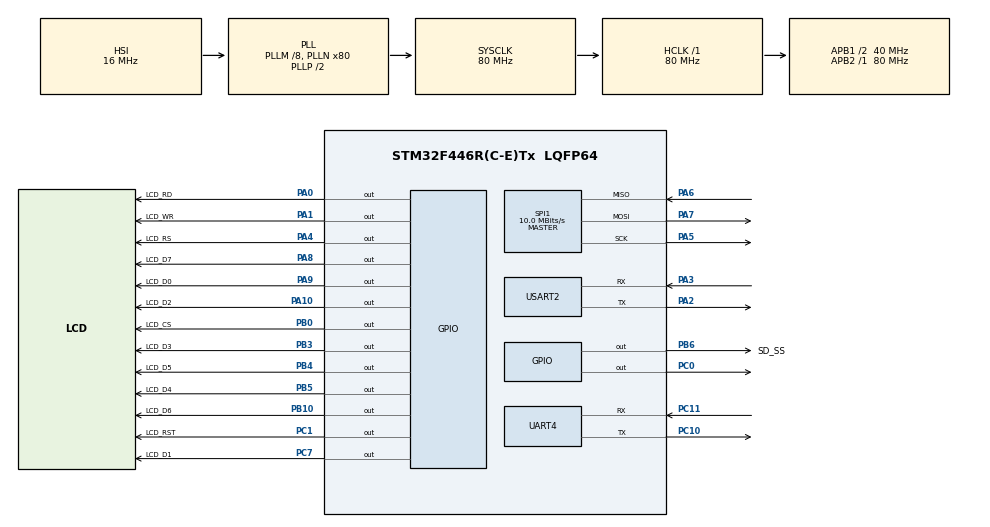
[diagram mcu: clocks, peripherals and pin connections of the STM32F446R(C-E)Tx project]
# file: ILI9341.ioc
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FATFS._MAX_SS=4096
FATFS._USE_LFN=1
Mcu.Family=STM32F4
Mcu.Name=STM32F446R(C-E)Tx
Mcu.Package=LQFP64
NVIC.PriorityGroup=NVIC_PRIORITYGROUP_4
NVIC.TIM6_DAC_IRQn=true\:0\:0\:false\:false\:true\:true\:true\:true
NVIC.UART4_IRQn=true\:0\:0\:false\:false\:true\:true\:true\:true
NVIC.USART2_IRQn=true\:0\:0\:false\:false\:true\:true\:true\:true
PA0-WKUP.GPIO_Label=LCD_RD
PA0-WKUP.GPIO_Speed=GPIO_SPEED_FREQ_HIGH
PA0-WKUP.Signal=GPIO_Output
PA1.GPIO_Label=LCD_WR
PA1.GPIO_Speed=GPIO_SPEED_FREQ_HIGH
PA1.Signal=GPIO_Output
PA10.GPIO_Label=LCD_D2
PA10.GPIO_Speed=GPIO_SPEED_FREQ_HIGH
PA10.Signal=GPIO_Output
PA13.Mode=Serial_Wire
PA13.Signal=SYS_JTMS-SWDIO
PA14.Mode=Serial_Wire
PA14.Signal=SYS_JTCK-SWCLK
PA2.Mode=Asynchronous
PA2.Signal=USART2_TX
PA3.Mode=Asynchronous
PA3.Signal=USART2_RX
PA4.GPIO_Label=LCD_RS
PA4.GPIO_Speed=GPIO_SPEED_FREQ_HIGH
PA4.Signal=GPIO_Output
PA5.Mode=Full_Duplex_Master
PA5.Signal=SPI1_SCK
PA6.Mode=Full_Duplex_Master
PA6.Signal=SPI1_MISO
PA7.Mode=Full_Duplex_Master
PA7.Signal=SPI1_MOSI
PA8.GPIO_Label=LCD_D7
PA8.GPIO_Speed=GPIO_SPEED_FREQ_HIGH
PA8.Signal=GPIO_Output
PA9.GPIO_Label=LCD_D0
PA9.GPIO_Speed=GPIO_SPEED_FREQ_HIGH
PA9.Signal=GPIO_Output
PB0.GPIO_Label=LCD_CS
PB0.GPIO_Speed=GPIO_SPEED_FREQ_HIGH
PB0.Signal=GPIO_Output
PB10.GPIO_Label=LCD_D6
PB10.GPIO_Speed=GPIO_SPEED_FREQ_HIGH
PB10.Signal=GPIO_Output
PB3.GPIO_Label=LCD_D3
PB3.GPIO_Speed=GPIO_SPEED_FREQ_HIGH
PB3.Signal=GPIO_Output
PB4.GPIO_Label=LCD_D5
PB4.GPIO_Speed=GPIO_SPEED_FREQ_HIGH
PB4.Signal=GPIO_Output
PB5.GPIO_Label=LCD_D4
PB5.GPIO_Speed=GPIO_SPEED_FREQ_HIGH
PB5.Signal=GPIO_Output
PB6.GPIO_Label=SD_SS
PB6.GPIO_Speed=GPIO_SPEED_FREQ_MEDIUM
PB6.PinState=GPIO_PIN_SET
PB6.Signal=GPIO_Output
PC0.PinState=GPIO_PIN_SET
PC0.Signal=GPIO_Output
PC1.GPIO_Label=LCD_RST
PC1.GPIO_Speed=GPIO_SPEED_FREQ_HIGH
PC1.Signal=GPIO_Output
PC10.Mode=Asynchronous
PC10.Signal=UART4_TX
PC11.Mode=Asynchronous
PC11.Signal=UART4_RX
PC7.GPIO_Label=LCD_D1
PC7.GPIO_Speed=GPIO_SPEED_FREQ_HIGH
PC7.Signal=GPIO_Output
PH0-OSC_IN.Mode=HSE-External-Oscillator
PH0-OSC_IN.Signal=RCC_OSC_IN
PH1-OSC_OUT.Mode=HSE-External-Oscillator
PH1-OSC_OUT.Signal=RCC_OSC_OUT
ProjectManager.HeapSize=0x200
ProjectManager.StackSize=0x400
ProjectManager.TargetToolchain=STM32CubeIDE
RCC.AHBFreq_Value=80000000
RCC.APB1CLKDivider=RCC_HCLK_DIV2
RCC.APB1Freq_Value=40000000
RCC.APB1TimFreq_Value=80000000
RCC.APB2Freq_Value=80000000
RCC.APB2TimFreq_Value=80000000
RCC.CortexFreq_Value=80000000
RCC.HCLKFreq_Value=80000000
RCC.PLLM=8
RCC.PLLN=80
RCC.SYSCLKFreq_VALUE=80000000
RCC.SYSCLKSource=RCC_SYSCLKSOURCE_PLLCLK
RCC.USBFreq_Value=80000000
RCC.VCOOutputFreq_Value=160000000
SPI1.BaudRatePrescaler=SPI_BAUDRATEPRESCALER_8
SPI1.CalculateBaudRate=10.0 MBits/s
SPI1.Direction=SPI_DIRECTION_2LINES
SPI1.Mode=SPI_MODE_MASTER
SPI1.VirtualType=VM_MASTER
TIM6.Period=2500-1
TIM6.Prescaler=8400-1
UART4.VirtualMode=Asynchronous
USART2.VirtualMode=VM_ASYNC
VP_FATFS_VS_Generic.Mode=User_defined
VP_TIM6_VS_ClockSourceINT.Mode=Enable_Timer
board=custom

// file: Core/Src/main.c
/* USER CODE BEGIN Header */
/**
 ******************************************************************************
 * @file           : main.c
 * @brief          : PANTALLA - LOGICA - COLISIONES
 ******************************************************************************
 *
 * ESTADOS:
 * START
 * PLAYING -
 * CORRECCIÓN DE VIDAS
 * CORRECCIÓN DE ANIMACIÓN
 * CORRECCIÓN MAPA
 * MOVIMIENTO LISTO
 * GAME_OVER
 * RESET
 */
/* USER CODE END Header */

#include "main.h"
#include "fatfs.h"

/* USER CODE BEGIN Includes */
#include "string.h"
#include "stdio.h"
#include "ili9341.h"
#include "Bitmaps.h"
#include "fatfs_sd.h"
#include "fisicas.h"
/* USER CODE END Includes */

/* USER CODE BEGIN PD */
#define BUFFER_PIXELS 320

FATFS fs;
FATFS *pfs;
FIL fil;
FRESULT fres;
UINT br;
DWORD fre_clust;
uint32_t totalSpace, freeSpace;

#define VIDA_W   7
#define VIDA_H   8
#define VIDA_GAP 2

/* Posiciones de DK y Peach */
#define DK_X     2
#define DK_Y     16
#define DK_W     34
#define DK_H     48
#define PEACH_X  111
#define PEACH_Y  8
#define PEACH_W  18
#define PEACH_H  24
/* USER CODE END PD */

SPI_HandleTypeDef hspi1;
TIM_HandleTypeDef htim6;
UART_HandleTypeDef huart4;
UART_HandleTypeDef huart2;

/* USER CODE BEGIN PV */
uint8_t rxData;
char msg[50];

#define ESP32_J1_ADDR (0x10 << 1)
#define ESP32_J2_ADDR (0x11 << 1)

int16_t prevX[NUM_JUGADORES];
int16_t prevY[NUM_JUGADORES];
int16_t prevEnemyX[MAX_ENEMIGOS];
int16_t prevEnemyY[MAX_ENEMIGOS];
uint8_t prevVidas[NUM_JUGADORES];

uint8_t pantalla_actualizada = 0;
volatile uint8_t flag_animacion = 0;
uint8_t frame_inicial = 0;
uint8_t mario_listo = 0;
uint8_t luigi_listo = 0;
volatile uint8_t contador_frames = 0;
uint8_t buffer_uart4;
volatile uint8_t bandera_play = 0;
volatile uint8_t bandera_skip = 0;
volatile uint8_t estado_J1 = 'N';
volatile uint8_t estado_J2 = 'n';

uint8_t frame_princesa = 0;
/* USER CODE END PV */

void SystemClock_Config(void);
static void MX_GPIO_Init(void);
static void MX_SPI1_Init(void);
static void MX_USART2_UART_Init(void);
static void MX_TIM6_Init(void);
static void MX_UART4_Init(void);
/* USER CODE BEGIN PFP */
void dibujarMapa(void);
void borrarSprite(int16_t x, int16_t y, uint8_t w, uint8_t h);
void repararTiles(int16_t x, int16_t y, uint8_t w, uint8_t h);
void dibujarHUD(void);
void actualizarHUD(void);
void gameLoop(void);
void iniciarJuego(void);
void dibujarDK(void);
void dibujarPeach(void);
static uint8_t revisar_boton_play(void);
uint8_t drawImageSD_Chunked_Skip(char *filename, uint16_t x, uint16_t y, uint16_t width, uint16_t height, uint8_t total_frames);
/* USER CODE END PFP */

/* USER CODE BEGIN 0 */
/* ---------- SD ---------- */
void transmit_uart(char *string) {
    uint8_t len = strlen(string);
    HAL_UART_Transmit(&huart2, (uint8_t*) string, len, 200);
}

void mount_SD() {
    fres = f_mount(&fs, "/", 1);
    if (fres == FR_OK) transmit_uart("SD montada OK.\r\n");
    else { char buf[60]; sprintf(buf, "Error SD: %d\r\n", fres); transmit_uart(buf); }
}
void open_ReadFile(char *filename) { fres = f_open(&fil, filename, FA_READ); }
void close_File(char *filename)   { fres = f_close(&fil); }
void unmount_SD()                 {
	f_mount(NULL, "", 1);
	if (fres == FR_OK)	 transmit_uart("Micro SD card is unmounted!\r\n");
	else if (fres != FR_OK) 	transmit_uart("Micro SD card was not unmounted!\r\n");
}

/* ---------- FONDOS Y ANIMACIONES ---------- */
void drawImageSD_Chunked(char *filename, uint16_t x, uint16_t y,
		uint16_t width, uint16_t height, uint8_t total_frames) {
	HAL_TIM_Base_Stop_IT(&htim6);
	uint16_t chunk = 10;
	uint16_t buffer[BUFFER_PIXELS*chunk];

	mount_SD();
	open_ReadFile(filename);
	for (uint8_t frame = 0; frame < total_frames; frame++) {
		for (uint16_t row = 0; row < height; row += chunk) {
			uint16_t rows = (row + chunk > height) ? (height - row) : chunk;
			f_read(&fil, buffer, width * rows * sizeof(uint16_t), &br);
			if (br != width * rows * sizeof(uint16_t)) break;
			LCD_Bitmap(x, y + row, width, rows, buffer);
		}
	}
	close_File(filename);
	unmount_SD();
	HAL_TIM_Base_Start_IT(&htim6);
}

/* NUEVA FUNCION: Animacion que se interrumpe si la bandera_skip es 1 */
uint8_t drawImageSD_Chunked_Skip(char *filename, uint16_t x, uint16_t y,
		uint16_t width, uint16_t height, uint8_t total_frames) {
	HAL_TIM_Base_Stop_IT(&htim6);
	uint16_t chunk = 10;
	uint16_t buffer[BUFFER_PIXELS*chunk];

	mount_SD();
	open_ReadFile(filename);
	for (uint8_t frame = 0; frame < total_frames; frame++) {

        // REVISAMOS SI EL USUARIO PRESIONO 'T'
        if (bandera_skip == 1) {
            close_File(filename);
	        unmount_SD();
	        HAL_TIM_Base_Start_IT(&htim6);
            return 1; // Retorna 1 indicando que fue interrumpido
        }

		for (uint16_t row = 0; row < height; row += chunk) {
			uint16_t rows = (row + chunk > height) ? (height - row) : chunk;
			f_read(&fil, buffer, width * rows * sizeof(uint16_t), &br);
			if (br != width * rows * sizeof(uint16_t)) break;
			LCD_Bitmap(x, y + row, width, rows, buffer);
		}
	}
	close_File(filename);
	unmount_SD();
	HAL_TIM_Base_Start_IT(&htim6);
    return 0; // Termino normalmente
}

void HAL_TIM_PeriodElapsedCallback(TIM_HandleTypeDef *htim) {
    if (htim->Instance == TIM6) {
    	flag_animacion = 1;
    	contador_frames++;
    }
}

void makeScore(void) {
	drawImageSD_Chunked("score.bin", 0, 0, 240, 320, 1);
}

/* ---------- HUD ---------- */
void dibujarHUD(void) {
    for (uint8_t i = 0; i < jugadores[J_MARIO].vidas; i++) {
        uint16_t hx = 2 + i * (VIDA_W + VIDA_GAP);
        LCD_BitmapTransparent(hx, 2, VIDA_W, VIDA_H, (const uint16_t*)v_m, 0x0000);
    }
    for (uint8_t i = jugadores[J_MARIO].vidas; i < NUM_VIDAS; i++) {
        uint16_t hx = 2 + i * (VIDA_W + VIDA_GAP);
        FillRect(hx, 2, VIDA_W, VIDA_H, 0x0000);
    }
    for (uint8_t i = 0; i < jugadores[J_LUIGI].vidas; i++) {
        uint16_t hx = SCREEN_W - 2 - (NUM_VIDAS - i) * (VIDA_W + VIDA_GAP);
        LCD_BitmapTransparent(hx, 2, VIDA_W, VIDA_H, (const uint16_t*)v_l, 0x0000);
    }
    for (uint8_t i = jugadores[J_LUIGI].vidas; i < NUM_VIDAS; i++) {
        uint16_t hx = SCREEN_W - 2 - (NUM_VIDAS - i) * (VIDA_W + VIDA_GAP);
        FillRect(hx, 2, VIDA_W, VIDA_H, 0x0000);
    }
    prevVidas[J_MARIO] = jugadores[J_MARIO].vidas;
    prevVidas[J_LUIGI] = jugadores[J_LUIGI].vidas;
}

void actualizarHUD(void) {
    if (prevVidas[J_MARIO] != jugadores[J_MARIO].vidas ||
        prevVidas[J_LUIGI] != jugadores[J_LUIGI].vidas)
        dibujarHUD();
}

/* ---------- MAPA ---------- */
void dibujarMapa(void) {
    LCD_Clear(0x0000);
    for (uint8_t row = 0; row < MAP_ROWS; row++) {
        for (uint8_t col = 0; col < MAP_COLS; col++) {
            uint16_t px = col * TILE_W;
            uint16_t py = row * TILE_H;
            int16_t offset = calc_slope(row, col);
            uint8_t blk = tilemap[row][col];
            if (blk == 1)
                LCD_BitmapTransparent(px, py+offset, 16, 8, (const uint16_t*)tile2, 0x0000);
            else if (blk == 2)
                LCD_BitmapTransparent(px, py+offset, 8, 16, (const uint16_t*)escalera, 0x0000);
            else if (blk == 3) {
                LCD_BitmapTransparent(px, py+offset, 16, 8, (const uint16_t*)tile2, 0x0000);
                LCD_BitmapTransparent(px, py+offset, 8, 16, (const uint16_t*)escalera, 0x0000);
            }
        }
    }
}

/* ---------- GRAFICOS ---------- */
void borrarSprite(int16_t x, int16_t y, uint8_t w, uint8_t h) {
    if (x < 0 || y < 0) return;
    uint8_t dw = (x + w > SCREEN_W) ? SCREEN_W - x : w;
    uint8_t dh = (y + h > SCREEN_H) ? SCREEN_H - y : h;
    FillRect(x, y, dw, dh, 0x0000);
}

void repararTiles(int16_t x, int16_t y, uint8_t w, uint8_t h) {
    int cMin = (x / TILE_W) - 1;
    int cMax = (x + w - 1) / TILE_W + 1;
    int rMin = (y / TILE_H) - 1;
    int rMax = (y + h - 1) / TILE_H + 1;
    for (int r = rMin; r <= rMax; r++) {
        for (int c = cMin; c <= cMax; c++) {
            if (r < 0 || r >= MAP_ROWS || c < 0 || c >= MAP_COLS) continue;
            uint16_t tpx = c * TILE_W;
            uint16_t tpy = r * TILE_H;
            int16_t offset = calc_slope(r, c);
            uint8_t blk = tilemap[r][c];
            if (blk == 1)
                LCD_Bitmap(tpx, tpy+offset, 16, 8, (const uint16_t*)tile2);
            else if (blk == 2)
                LCD_Bitmap(tpx, tpy+offset, 8, 16, (const uint16_t*)escalera);
            else if (blk == 3) {
                LCD_Bitmap(tpx, tpy+offset, 16, 8, (const uint16_t*)tile2);
                LCD_Bitmap(tpx, tpy+offset, 8, 16, (const uint16_t*)escalera);
            }
        }
    }
}

static uint8_t spritesOverlap(int16_t x1, int16_t y1,
                               int16_t x2, int16_t y2,
                               uint8_t w, uint8_t h)
{
    if (x1 < 0 || x2 < 0) return 0;
    if (x1+w <= x2 || x2+w <= x1) return 0;
    if (y1+h <= y2 || y2+h <= y1) return 0;
    return 1;
}

void dibujarDK(void) {
    int16_t dy = 0;
    uint8_t frame_actual_dk = 0;

    if (dk_anim > 0) {
        if (dk_anim > DK_THROW_FRAMES / 2) {
            dy = -4;
            frame_actual_dk = 2;
        } else {
            frame_actual_dk = 1;
        }
    } else {
        frame_actual_dk = 0;
    }

    LCD_Sprite_Transparent(DK_X, DK_Y + dy, DK_W, DK_H, (const uint16_t*)DK_2, 3, frame_actual_dk, 0, 0, 0x0000);
}

/* ========== Peach: SIN ANIMACIÓN (Fija) ========== */
void dibujarPeach(void) {
    LCD_Sprite_Transparent(PEACH_X, PEACH_Y, PEACH_W, PEACH_H,
                           (const uint16_t*)peach, 4, 0,
                           0, 0, 0x0000);
}

/* ========== Jugador: escalera, muerte, normal ========== */
static void dibujarJugador(uint8_t p) {
    Jugador_t *j = &jugadores[p];
    int16_t jx = Jugador_PixelX(p);
    int16_t jy = Jugador_PixelY(p);

    /* Muerto permanentemente: último frame de muerte */
    if (!j->vivo) {
        const uint16_t *deathSprite = (p == J_MARIO)
            ? (const uint16_t*)mario_death : (const uint16_t*)luigi_death;
        LCD_Sprite_Transparent(jx, jy, SPRITE_W, SPRITE_H,
                               deathSprite, 5, 4,
                               (j->direccion < 0) ? 1 : 0, 0, 0x0000);
        return;
    }

    /* Animación de muerte en curso */
    if (j->muriendo > 0) {
        const uint16_t *deathSprite = (p == J_MARIO)
            ? (const uint16_t*)mario_death : (const uint16_t*)luigi_death;
        LCD_Sprite_Transparent(jx, jy, SPRITE_W, SPRITE_H,
                               deathSprite, 5, j->frameAnimMuerte,
                               (j->direccion < 0) ? 1 : 0, 0, 0x0000);
        return;
    }

    /* Parpadeo de invencibilidad */
    if (j->invencible > 0 && (j->invencible % 8) < 4) return;

    /* En escalera: sprite de escalera (7 frames) */
    if (j->enEscalera) {
        const uint16_t *stairSprite = (p == J_MARIO)
            ? (const uint16_t*)mario_stairs : (const uint16_t*)luigi_stairs;
        LCD_Sprite_Transparent(jx, jy, SPRITE_W, SPRITE_H,
                               stairSprite, 7, j->frameAnim,
                               0, 0, 0x0000);
        return;
    }

    /* Normal: caminar/parado (5 frames) */
    const uint16_t *sprite = (p == J_MARIO)
        ? (const uint16_t*)mario : (const uint16_t*)luigi;

    LCD_Sprite_Transparent(jx, jy, SPRITE_W, SPRITE_H,
                           sprite, 5, j->frameAnim,
                           (j->direccion < 0) ? 1 : 0,
                           0, 0x0000);
}

/* ---------- INICIAR JUEGO ---------- */
void iniciarJuego(void) {
    LCD_Clear(0x0000);
    dibujarMapa();
    Fisicas_Init();
    for (int i = 0; i < NUM_JUGADORES; i++) { prevX[i] = -1; prevY[i] = -1; }
    for (int i = 0; i < MAX_ENEMIGOS; i++)  { prevEnemyX[i] = -1; prevEnemyY[i] = -1; }
    prevVidas[J_MARIO] = 0;
    prevVidas[J_LUIGI] = 0;

    dibujarDK();
    dibujarPeach();
    dibujarHUD();
    estadoJuego = ESTADO_PLAYING;
}

/* ---------- GAME LOOP ---------- */
void gameLoop(void) {
    Fisicas_Update();
    actualizarHUD();

    // === JUGADORES ===
    int16_t nx[NUM_JUGADORES], ny[NUM_JUGADORES];
    uint8_t moved[NUM_JUGADORES];
    for (uint8_t p = 0; p < NUM_JUGADORES; p++) {
        nx[p] = Jugador_PixelX(p);
        ny[p] = Jugador_PixelY(p);
        moved[p] = (prevX[p] != nx[p] || prevY[p] != ny[p]) ? 1 : 0;
        if (jugadores[p].invencible > 0) moved[p] = 1;
        if (jugadores[p].muriendo > 0) moved[p] = 1;
    }
    for (uint8_t p = 0; p < NUM_JUGADORES; p++) {
        if (!moved[p]) continue;
        if (prevX[p] >= 0) {
            borrarSprite(prevX[p], prevY[p], SPRITE_W, SPRITE_H);
            repararTiles(prevX[p], prevY[p], SPRITE_W, SPRITE_H);
            for (uint8_t q = 0; q < NUM_JUGADORES; q++) {
                if (q == p) continue;
                int16_t qx = (moved[q] && prevX[q] >= 0) ? nx[q] : prevX[q];
                int16_t qy = (moved[q] && prevY[q] >= 0) ? ny[q] : prevY[q];
                if (spritesOverlap(prevX[p], prevY[p], qx, qy, SPRITE_W, SPRITE_H))
                    dibujarJugador(q);
            }
        }
        dibujarJugador(p);
        prevX[p] = nx[p];
        prevY[p] = ny[p];
    }

    // === BARRILES ===
    for (uint8_t i = 0; i < MAX_ENEMIGOS; i++) {
        int16_t ex = FP_TO_PX(enemigos[i].x);
        int16_t ey = FP_TO_PX(enemigos[i].y);
        if (!enemigos[i].activo) {
            if (prevEnemyX[i] >= 0) {
                borrarSprite(prevEnemyX[i], prevEnemyY[i], BARRIL_W, BARRIL_H);
                repararTiles(prevEnemyX[i], prevEnemyY[i], BARRIL_W, BARRIL_H);
                prevEnemyX[i] = -1;
                prevEnemyY[i] = -1;
            }
            continue;
        }
        if (prevEnemyX[i] != ex || prevEnemyY[i] != ey) {
            if (prevEnemyX[i] >= 0) {
                borrarSprite(prevEnemyX[i], prevEnemyY[i], BARRIL_W, BARRIL_H);
                repararTiles(prevEnemyX[i], prevEnemyY[i], BARRIL_W, BARRIL_H);
            }
            LCD_Sprite_Transparent(ex, ey, BARRIL_W, BARRIL_H,
                                   (const uint16_t*)BARRIL_1, 1, 0,
                                   0, 0, 0x0000);
            prevEnemyX[i] = ex;
            prevEnemyY[i] = ey;
        }
    }

    for (uint8_t p = 0; p < NUM_JUGADORES; p++) {
        if (!jugadores[p].vivo && prevX[p] >= 0) {
            dibujarJugador(p);
        }
    }

    {
        static uint8_t fase_dk_anterior = 0;
        uint8_t fase_actual_dk = 0;
        if (dk_anim > DK_THROW_FRAMES / 2) fase_actual_dk = 2;
        else if (dk_anim > 0)              fase_actual_dk = 1;

        if (fase_actual_dk != fase_dk_anterior) {
            borrarSprite(DK_X, DK_Y - 4, DK_W, DK_H + 4);
            repararTiles(DK_X, DK_Y - 4, DK_W, DK_H + 4);
            fase_dk_anterior = fase_actual_dk;
        }
        dibujarDK();
    }

    dibujarPeach();
}
/* USER CODE END 0 */

int main(void)
{
  HAL_Init();
  SystemClock_Config();

  MX_GPIO_Init();
  MX_SPI1_Init();
  MX_FATFS_Init();
  MX_USART2_UART_Init();
  MX_TIM6_Init();
  MX_UART4_Init();

  /* USER CODE BEGIN 2 */
    transmit_uart("\r\n--- REINICIO DEL SISTEMA ---\r\n");

    HAL_TIM_Base_Start_IT(&htim6);
    HAL_GPIO_WritePin(GPIOC, GPIO_PIN_0, GPIO_PIN_SET);
    HAL_Delay(10);

    LCD_Init();
    LCD_Clear(0x0000);

    mount_SD();
    unmount_SD();

    estadoJuego = ESTADO_START;
    pantalla_actualizada = 0;

    /*----------------- PANTALLA DE REPOSO (LOAD SCREEN) -----------------*/
    // Se muestra al encender la consola
    drawImageSD_Chunked("load_screen.bin", 0, 0, 240, 320, 1);
    HAL_Delay(1000);

    HAL_UART_Receive_IT(&huart4, &buffer_uart4, 1);
    HAL_TIM_Base_Start_IT(&htim6);
  /* USER CODE END 2 */

  /* Infinite loop */
  /* USER CODE BEGIN WHILE */
  while (1)
  {
      switch (estadoJuego) {

      case ESTADO_START:
          if (!pantalla_actualizada) {
              // --- AVISAMOS A SONIDO QUE INICIA EL START (Por huart2) ---
              uint8_t cmd_inicio = 'S';
              HAL_UART_Transmit(&huart2, &cmd_inicio, 1, 10);

              LCD_Clear(0x0000);
              if (fres == FR_OK) {
                  hspi1.Instance->CR1 &= ~SPI_BAUDRATEPRESCALER_256;
                  hspi1.Instance->CR1 |= SPI_BAUDRATEPRESCALER_2;
                  drawImageSD_Chunked("start_menu.bin", 0, 0, 240, 320, 1);
                  LCD_Sprite(146, 188, 39, 7, mario_start, 2, frame_inicial, 0, 0);
                  LCD_Sprite(146, 233, 39, 7, luigi_start, 2, frame_inicial, 0, 0);
              }
              transmit_uart("Estado: START - esperando P\r\n");
              pantalla_actualizada = 1;
          }

          frame_inicial = (contador_frames/2)%2;
          LCD_Sprite(76, 130, 88, 7, insert_coin, 2, frame_inicial, 0, 0);

          if (mario_listo) LCD_Sprite(146, 188, 39, 7, mario_start, 2, 0, 0, 0);
          else LCD_Sprite(146, 188, 39, 7, mario_start, 2, frame_inicial, 0, 0);

          if (luigi_listo) LCD_Sprite(146, 233, 39, 7, luigi_start, 2, 0, 0, 0);
          else LCD_Sprite(146, 233, 39, 7, luigi_start, 2, frame_inicial, 0, 0);

          if (revisar_boton_play()) {

              pantalla_actualizada = 0;
              estadoJuego = 5;
          }
          break;

      // --- NUEVO ESTADO: CINEMATICA (ESTADO_JUEGO = 5) ---
      case SALTAR_CINE:
          if (!pantalla_actualizada) {
              LCD_Clear(0x0000);
              bandera_skip = 0; // Reiniciamos la bandera

              // Reproducimos la animacion, guardamos si el usuario la skipeo
              uint8_t se_salto = drawImageSD_Chunked_Skip("start_animation.bin", 0, 0, 240, 320, 22);

              if (se_salto) {

                  // Avisamos al sonido y entramos al juego
                  uint8_t cmd_jugar = 'P';
                  HAL_UART_Transmit(&huart2, &cmd_jugar, 1, 10);
                  iniciarJuego();

              } else {

                  estadoJuego = ESTADO_START;
              }

              pantalla_actualizada = 1;
          }
          break;

      case ESTADO_PLAYING:
          gameLoop();
          if (estadoJuego == ESTADO_GAME_OVER || estadoJuego == ESTADO_WIN) {
              pantalla_actualizada = 0;
          }
          break;

      case ESTADO_GAME_OVER:
          if (!pantalla_actualizada) {
              // --- AVISAMOS A SONIDO QUE MURIERON (Por huart2) ---
              uint8_t cmd_muerte = 'M';
              HAL_UART_Transmit(&huart2, &cmd_muerte, 1, 10);

              LCD_Clear(0x0000);
              drawImageSD_Chunked("game_over.bin", 0, 0, 240, 320, 9);
              drawImageSD_Chunked("score.bin", 0, 0, 240, 320, 1);

              LCD_Print("LOSE", 140, 135, 2, 0xF800, 0x0000);
              LCD_Print("LOSE", 140, 195, 2, 0xF800, 0x0000);
              LCD_Print("PRESS P TO RESTART", 20, 280, 1, 0xFFFF, 0x0000);

              pantalla_actualizada = 1;
          }
          if (revisar_boton_play()) {
              // --- AVISAMOS DE UN SALTO PARA RESETEAR (Por huart2) ---
              uint8_t cmd_salto = 'B';
              HAL_UART_Transmit(&huart2, &cmd_salto, 1, 10);

              pantalla_actualizada = 0;
              estadoJuego = ESTADO_RESET;
              transmit_uart("Estado: RESET\r\n");
          }
          break;

      case ESTADO_WIN:
          if (!pantalla_actualizada) {
              // --- AVISAMOS A SONIDO DE LA VICTORIA (Por huart2) ---
              uint8_t cmd_victoria = 'W';
              HAL_UART_Transmit(&huart2, &cmd_victoria, 1, 10);

              LCD_Clear(0x0000);
              drawImageSD_Chunked("win.bin", 0, 0, 240, 320, 8);
              drawImageSD_Chunked("score.bin", 0, 0, 240, 320, 1);

              if (winner == J_MARIO) {
                  LCD_Print("WIN", 140, 135, 2, 0x07E0, 0x0000);
                  LCD_Print("LOSE", 140, 195, 2, 0xF800, 0x0000);
              } else {
                  LCD_Print("LOSE", 140, 135, 2, 0xF800, 0x0000);
                  LCD_Print("WIN", 140, 195, 2, 0x07E0, 0x0000);
              }

              LCD_Print("PRESS P TO RESTART", 20, 280, 1, 0xFFFF, 0x0000);

              pantalla_actualizada = 1;
          }

          if (revisar_boton_play()) {
              // --- AVISAMOS DE UN SALTO PARA RESETEAR (Por huart2) ---
              uint8_t cmd_salto_dos = 'B';
              HAL_UART_Transmit(&huart2, &cmd_salto_dos, 1, 10);

              pantalla_actualizada = 0;
              estadoJuego = ESTADO_RESET;
          }
          break;

      case ESTADO_RESET:
          pantalla_actualizada = 0;
          estadoJuego = ESTADO_START;
          // Reiniciamos al estado S de sonido si el usuario quiere
          uint8_t comando_reinicio = 'S';
          HAL_UART_Transmit(&huart2, &comando_reinicio, 1, 10);
          break;
      }

      HAL_Delay(16);
    /* USER CODE END WHILE */

  }
}

void SystemClock_Config(void)
{
  RCC_OscInitTypeDef RCC_OscInitStruct = {0};
  RCC_ClkInitTypeDef RCC_ClkInitStruct = {0};

  __HAL_RCC_PWR_CLK_ENABLE();
  __HAL_PWR_VOLTAGESCALING_CONFIG(PWR_REGULATOR_VOLTAGE_SCALE3);

  RCC_OscInitStruct.OscillatorType = RCC_OSCILLATORTYPE_HSI;
  RCC_OscInitStruct.HSIState = RCC_HSI_ON;
  RCC_OscInitStruct.HSICalibrationValue = RCC_HSICALIBRATION_DEFAULT;
  RCC_OscInitStruct.PLL.PLLState = RCC_PLL_ON;
  RCC_OscInitStruct.PLL.PLLSource = RCC_PLLSOURCE_HSI;
  RCC_OscInitStruct.PLL.PLLM = 8;
  RCC_OscInitStruct.PLL.PLLN = 80;
  RCC_OscInitStruct.PLL.PLLP = RCC_PLLP_DIV2;
  RCC_OscInitStruct.PLL.PLLQ = 2;
  RCC_OscInitStruct.PLL.PLLR = 2;
  if (HAL_RCC_OscConfig(&RCC_OscInitStruct) != HAL_OK) Error_Handler();

  RCC_ClkInitStruct.ClockType = RCC_CLOCKTYPE_HCLK|RCC_CLOCKTYPE_SYSCLK
                              |RCC_CLOCKTYPE_PCLK1|RCC_CLOCKTYPE_PCLK2;
  RCC_ClkInitStruct.SYSCLKSource = RCC_SYSCLKSOURCE_PLLCLK;
  RCC_ClkInitStruct.AHBCLKDivider = RCC_SYSCLK_DIV1;
  RCC_ClkInitStruct.APB1CLKDivider = RCC_HCLK_DIV2;
  RCC_ClkInitStruct.APB2CLKDivider = RCC_HCLK_DIV1;
  if (HAL_RCC_ClockConfig(&RCC_ClkInitStruct, FLASH_LATENCY_2) != HAL_OK) Error_Handler();
}

static void MX_SPI1_Init(void)
{
  hspi1.Instance = SPI1;
  hspi1.Init.Mode = SPI_MODE_MASTER;
  hspi1.Init.Direction = SPI_DIRECTION_2LINES;
  hspi1.Init.DataSize = SPI_DATASIZE_8BIT;
  hspi1.Init.CLKPolarity = SPI_POLARITY_LOW;
  hspi1.Init.CLKPhase = SPI_PHASE_1EDGE;
  hspi1.Init.NSS = SPI_NSS_SOFT;
  hspi1.Init.BaudRatePrescaler = SPI_BAUDRATEPRESCALER_8;
  hspi1.Init.FirstBit = SPI_FIRSTBIT_MSB;
  hspi1.Init.TIMode = SPI_TIMODE_DISABLE;
  hspi1.Init.CRCCalculation = SPI_CRCCALCULATION_DISABLE;
  hspi1.Init.CRCPolynomial = 10;
  if (HAL_SPI_Init(&hspi1) != HAL_OK) Error_Handler();
}

static void MX_TIM6_Init(void)
{
  TIM_MasterConfigTypeDef sMasterConfig = {0};
  htim6.Instance = TIM6;
  htim6.Init.Prescaler = 8400-1;
  htim6.Init.CounterMode = TIM_COUNTERMODE_UP;
  htim6.Init.Period = 2500-1;
  htim6.Init.AutoReloadPreload = TIM_AUTORELOAD_PRELOAD_DISABLE;
  if (HAL_TIM_Base_Init(&htim6) != HAL_OK) Error_Handler();
  sMasterConfig.MasterOutputTrigger = TIM_TRGO_RESET;
  sMasterConfig.MasterSlaveMode = TIM_MASTERSLAVEMODE_DISABLE;
  if (HAL_TIMEx_MasterConfigSynchronization(&htim6, &sMasterConfig) != HAL_OK) Error_Handler();
}

static void MX_UART4_Init(void)
{
  huart4.Instance = UART4;
  huart4.Init.BaudRate = 115200;
  huart4.Init.WordLength = UART_WORDLENGTH_8B;
  huart4.Init.StopBits = UART_STOPBITS_1;
  huart4.Init.Parity = UART_PARITY_NONE;
  huart4.Init.Mode = UART_MODE_TX_RX;
  huart4.Init.HwFlowCtl = UART_HWCONTROL_NONE;
  huart4.Init.OverSampling = UART_OVERSAMPLING_16;
  if (HAL_UART_Init(&huart4) != HAL_OK) Error_Handler();
}

static void MX_USART2_UART_Init(void)
{
  huart2.Instance = USART2;
  huart2.Init.BaudRate = 115200;
  huart2.Init.WordLength = UART_WORDLENGTH_8B;
  huart2.Init.StopBits = UART_STOPBITS_1;
  huart2.Init.Parity = UART_PARITY_NONE;
  huart2.Init.Mode = UART_MODE_TX_RX;
  huart2.Init.HwFlowCtl = UART_HWCONTROL_NONE;
  huart2.Init.OverSampling = UART_OVERSAMPLING_16;
  if (HAL_UART_Init(&huart2) != HAL_OK) Error_Handler();
}

static void MX_GPIO_Init(void)
{
  GPIO_InitTypeDef GPIO_InitStruct = {0};

  __HAL_RCC_GPIOH_CLK_ENABLE();
  __HAL_RCC_GPIOC_CLK_ENABLE();
  __HAL_RCC_GPIOA_CLK_ENABLE();
  __HAL_RCC_GPIOB_CLK_ENABLE();

  HAL_GPIO_WritePin(GPIOC, GPIO_PIN_0, GPIO_PIN_SET);
  HAL_GPIO_WritePin(GPIOC, LCD_RST_Pin|LCD_D1_Pin, GPIO_PIN_RESET);
  HAL_GPIO_WritePin(GPIOA, LCD_RD_Pin|LCD_WR_Pin|LCD_RS_Pin|LCD_D7_Pin
                          |LCD_D0_Pin|LCD_D2_Pin, GPIO_PIN_RESET);
  HAL_GPIO_WritePin(GPIOB, LCD_CS_Pin|LCD_D6_Pin|LCD_D3_Pin|LCD_D5_Pin
                          |LCD_D4_Pin, GPIO_PIN_RESET);
  HAL_GPIO_WritePin(SD_SS_GPIO_Port, SD_SS_Pin, GPIO_PIN_SET);

  GPIO_InitStruct.Pin = GPIO_PIN_0;
  GPIO_InitStruct.Mode = GPIO_MODE_OUTPUT_PP;
  GPIO_InitStruct.Pull = GPIO_NOPULL;
  GPIO_InitStruct.Speed = GPIO_SPEED_FREQ_LOW;
  HAL_GPIO_Init(GPIOC, &GPIO_InitStruct);

  GPIO_InitStruct.Pin = LCD_RST_Pin|LCD_D1_Pin;
  GPIO_InitStruct.Mode = GPIO_MODE_OUTPUT_PP;
  GPIO_InitStruct.Pull = GPIO_NOPULL;
  GPIO_InitStruct.Speed = GPIO_SPEED_FREQ_HIGH;
  HAL_GPIO_Init(GPIOC, &GPIO_InitStruct);

  GPIO_InitStruct.Pin = LCD_RD_Pin|LCD_WR_Pin|LCD_RS_Pin|LCD_D7_Pin
                          |LCD_D0_Pin|LCD_D2_Pin;
  GPIO_InitStruct.Mode = GPIO_MODE_OUTPUT_PP;
  GPIO_InitStruct.Pull = GPIO_NOPULL;
  GPIO_InitStruct.Speed = GPIO_SPEED_FREQ_HIGH;
  HAL_GPIO_Init(GPIOA, &GPIO_InitStruct);

  GPIO_InitStruct.Pin = LCD_CS_Pin|LCD_D6_Pin|LCD_D3_Pin|LCD_D5_Pin
                          |LCD_D4_Pin;
  GPIO_InitStruct.Mode = GPIO_MODE_OUTPUT_PP;
  GPIO_InitStruct.Pull = GPIO_NOPULL;
  GPIO_InitStruct.Speed = GPIO_SPEED_FREQ_HIGH;
  HAL_GPIO_Init(GPIOB, &GPIO_InitStruct);

  GPIO_InitStruct.Pin = SD_SS_Pin;
  GPIO_InitStruct.Mode = GPIO_MODE_OUTPUT_PP;
  GPIO_InitStruct.Pull = GPIO_NOPULL;
  GPIO_InitStruct.Speed = GPIO_SPEED_FREQ_MEDIUM;
  HAL_GPIO_Init(SD_SS_GPIO_Port, &GPIO_InitStruct);
}

/* USER CODE BEGIN 4 */
void HAL_UART_ErrorCallback(UART_HandleTypeDef *huart) {
    if (huart->Instance == UART4) {
        HAL_UART_Receive_IT(&huart4, &buffer_uart4, 1);
    }
}

void HAL_UART_RxCpltCallback(UART_HandleTypeDef *huart) {
    if (huart->Instance == UART4) {
        if (buffer_uart4 == CMD_PLAY || buffer_uart4 == 'p') {
            bandera_play = 1;
        }
        else if (buffer_uart4 == 'T' || buffer_uart4 == 't') {
            bandera_skip = 1;
        }
        else if (buffer_uart4 >= 'A' && buffer_uart4 <= 'Z') {
            estado_J1 = buffer_uart4;
        }
        else if (buffer_uart4 >= 'a' && buffer_uart4 <= 'z') {
            estado_J2 = buffer_uart4;
        }
        HAL_UART_Receive_IT(&huart4, &buffer_uart4, 1);
    }
}

static uint8_t revisar_boton_play(void) {
    if (bandera_play == 1) {
        bandera_play = 0;
        transmit_uart("UART4 RX -> Comando PLAY recibido!\r\n");
        return 1;
    }
    return 0;
}
/* USER CODE END 4 */

void Error_Handler(void)
{
  __disable_irq();
  while (1) { }
}
